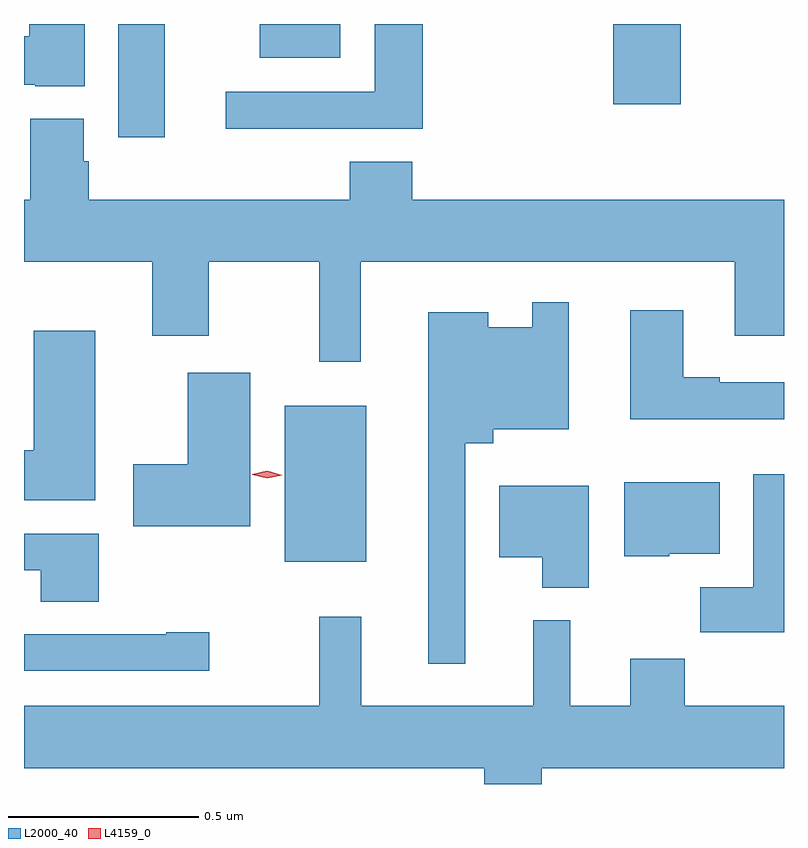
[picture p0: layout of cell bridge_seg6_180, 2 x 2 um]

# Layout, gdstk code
import gdstk
lib = gdstk.Library(unit=1e-6, precision=1e-09)
def R(c, l, rs):  # rectangles x0, y0, x1, y1
    for r in rs: c.add(gdstk.rectangle(r[:2], r[2:], *l))
def P(c, l, *ps):  # polygons
    for p in ps: c.add(gdstk.Polygon(p, *l))
L2000_40 = (2000, 40)
L4159_0 = (4159, 0)

bridge_seg6_180 = lib.new_cell('bridge_seg6_180')
R(bridge_seg6_180, L2000_40, [(123.842,979.847,124.057,980.257), (123.404,980.964,123.526,981.262), (124.706,981.051,124.884,981.262), (123.776,981.173,123.988,981.262)])
P(bridge_seg6_180, L2000_40, [(124.205,981.262),(124.079,981.262),(124.079,981.084),(123.687,981.084),(123.687,980.987),(124.205,980.987)],
  [(123.316,981.262),(123.17,981.262),(123.17,981.23),(123.156,981.23),(123.156,981.102),(123.186,981.102),(123.186,981.098),(123.316,981.098)],
  [(124.042,980.636),(125.027,980.636),(125.027,980.442),(125.156,980.442),(125.156,980.8),(124.178,980.8),(124.178,980.899),(124.013,980.899),(124.013,980.8),(123.326,980.8),(123.326,980.901),(123.313,980.901),(123.313,981.013),(123.173,981.013),(123.173,980.8),(123.156,980.8),(123.156,980.636),(123.494,980.636),(123.494,980.442),(123.642,980.442),(123.642,980.636),(123.933,980.636),(123.933,980.373),(124.042,980.373)],
  [(124.317,980.159),(124.391,980.159),(124.391,980.195),(124.59,980.195),(124.59,980.53),(124.494,980.53),(124.494,980.464),(124.378,980.464),(124.378,980.503),(124.22,980.503),(124.22,979.578),(124.317,979.578)],
  [(125.156,980.319),(124.987,980.319),(124.987,980.332),(124.891,980.332),(124.891,980.509),(124.751,980.509),(124.751,980.222),(125.156,980.222)],
  [(123.343,980.455),(123.182,980.455),(123.182,980.14),(123.156,980.14),(123.156,980.009),(123.343,980.009)],
  [(123.751,980.344),(123.587,980.344),(123.587,980.103),(123.444,980.103),(123.444,979.94),(123.751,979.94)],
  [(125.156,980.077),(125.075,980.077),(125.075,979.78),(124.936,979.78),(124.936,979.662),(125.156,979.662)],
  [(124.854,979.868),(124.987,979.868),(124.987,980.056),(124.736,980.056),(124.736,979.862),(124.854,979.862)],
  [(124.642,980.047),(124.406,980.047),(124.406,979.859),(124.52,979.859),(124.52,979.778),(124.642,979.778)],
  [(123.353,979.92),(123.156,979.92),(123.156,979.824),(123.2,979.824),(123.2,979.741),(123.353,979.741)],
  [(124.518,979.304),(125.156,979.304),(125.156,979.468),(124.895,979.468),(124.895,979.592),(124.751,979.592),(124.751,979.468),(124.594,979.468),(124.594,979.693),(124.496,979.693),(124.496,979.468),(124.043,979.468),(124.043,979.702),(123.933,979.702),(123.933,979.468),(123.156,979.468),(123.156,979.304),(124.367,979.304),(124.367,979.262),(124.518,979.262)],
  [(123.643,979.661),(123.53,979.661),(123.53,979.656),(123.156,979.656),(123.156,979.56),(123.643,979.56)])
P(bridge_seg6_180, L4159_0, [(123.796,980.066),(123.756,980.076),(123.756,980.076),(123.756,980.077),(123.796,980.086),(123.836,980.075),(123.836,980.075),(123.836,980.075)])

lib.write_gds('bridge_seg6_180.gds')
